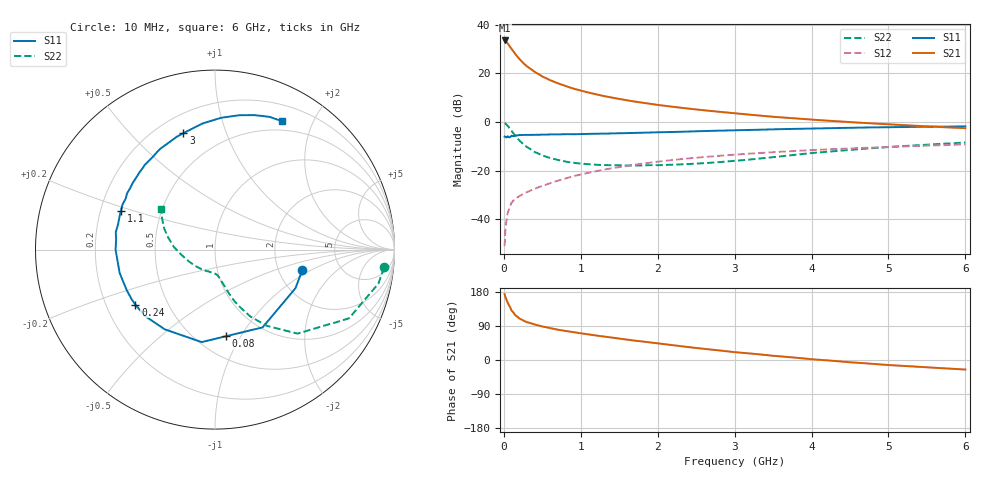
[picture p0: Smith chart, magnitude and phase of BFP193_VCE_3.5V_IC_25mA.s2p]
! Infineon Technologies  Discrete & RF Semiconductors
! BFP193
! VCE = 3.5 V,  IC =  25 mA
! Common Emitter S-Parameters:  Jan 2016
# GHz  S  MA  R  50
!  f  S11  S21  S12  S22
! GHz  MAG  ANG  MAG  ANG  MAG  ANG  MAG  ANG
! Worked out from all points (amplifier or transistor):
!   210 points, 10 MHz to 6 GHz, reference 50 ohm
!   highest |S21| = 33.5 dB at 10 MHz (marker M1)
!   |S21| within 3 dB of that: start of sweep to 89.31 MHz
!   unconditionally stable (mu >= 1): 695.4 MHz to 3.83 GHz
!   at 185 MHz: K = 0.54, MSG = 28.7 dB, |S12| = -30.8 dB
!   at 1.52 GHz: K = 1.07, MAG = 12.3 dB, |S12| = -18.4 dB
!   at 6 GHz: K = 0.93, MSG = 3.3 dB, |S12| = -9.3 dB
!   S11 on the Smith chart (normalised r, x): 10 MHz: 2.72, -0.82; 80 MHz: 0.69, -0.87; 240 MHz: 0.33, -0.28; 1.1 GHz: 0.29, +0.18; 3 GHz: 0.30, +0.72; 6 GHz: 0.38, +1.58
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0.01  0.4998 -13.1  47.19 173.8  0.0028 86.3  0.9468 -6.0
0.02  0.4972 -25.6  45.73 166.5  0.0059 76.4  0.9304 -11.7
0.05  0.5081 -58.5  41.03 150.3  0.0134 68.7  0.8389 -27.2
0.08  0.4864 -82.7  34.99 139.8  0.0184 60.5  0.72 -37.1
0.1  0.5207 -98.2  31.82 130.7  0.0219 57.1  0.6561 -45.5
0.15  0.5251 -122.2  24.63 117.9  0.0266 52.4  0.5139 -55.8
0.2  0.5378 -136.6  19.83 109.8  0.0297 51.3  0.4192 -62.3
0.24  0.5391 -145.3  17 105.4  0.0327 51.5  0.3637 -65.5
0.3  0.5413 -155.3  13.88 99.8  0.0361 52.2  0.3054 -69.5
0.4  0.547 -166.4  10.69 93.5  0.0422 54.9  0.2419 -73.3
0.5  0.5469 -173.8  8.598 88.4  0.0485 56.4  0.2046 -75.9
0.6  0.554 -180.0  7.223 84.1  0.0553 58.0  0.1815 -78.1
0.7  0.5536 174.3  6.235 80.0  0.0619 58.8  0.165 -80.2
1.02  0.5632 160.6  4.317 69.9  0.0846 59.0  0.1385 -86.8
1.1  0.5667 157.8  4.011 67.5  0.0901 58.8  0.1354 -89.0
1.6  0.5897 141.2  2.776 53.7  0.1256 55.1  0.1275 -103.5
2.02  0.6134 129.2  2.216 43.3  0.1538 50.7  0.1293 -118.0
3  0.6721 105.2  1.502 20.7  0.213 39.1  0.1585 -154.7
3.1  0.6773 103.2  1.454 19.0  0.2181 37.9  0.1634 -158.4
4.1  0.7394 85.7  1.089 0.6  0.2681 26.5  0.2364 174.0
5.1  0.7838 72.5  0.876 -14.4  0.3096 15.6  0.3125 155.9
6  0.807 62.5  0.744 -25.2  0.3445 6.0  0.3767 142.7
